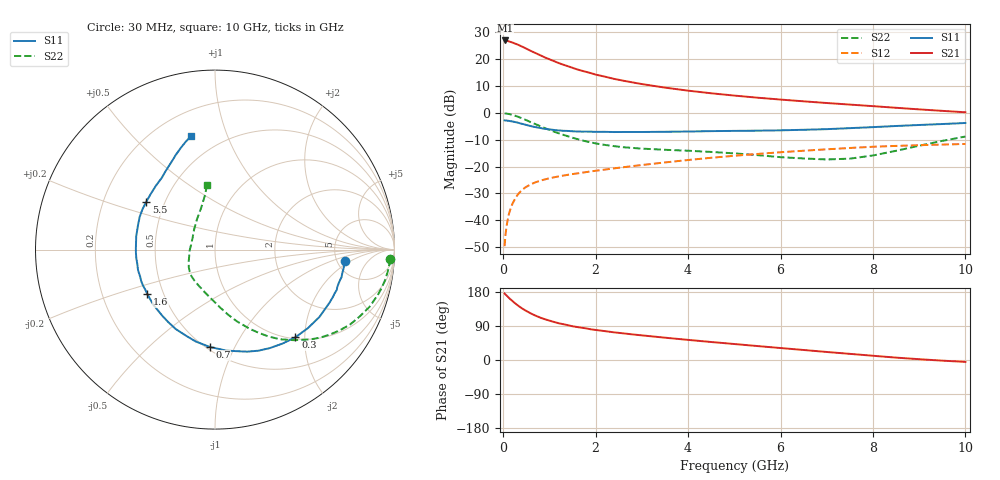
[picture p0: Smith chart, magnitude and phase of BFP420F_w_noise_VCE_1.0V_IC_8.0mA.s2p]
! Infineon Technologies  Discrete & RF Semiconductors
! BFP420F
! VCE =  1.0 V,  IC =  8.0 mA
! Common Emitter S-Parameters:  Sep 2011
# GHz  S  MA  R  50
!  f  S11  S21  S12  S22
! GHz  MAG  ANG  MAG  ANG  MAG  ANG  MAG  ANG
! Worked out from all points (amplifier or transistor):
!   54 points, 30 MHz to 10 GHz, reference 50 ohm
!   highest |S21| = 27.0 dB at 40 MHz (marker M1)
!   |S21| within 3 dB of that: start of sweep to 493.1 MHz
!   unconditionally stable (mu >= 1): 2.15 GHz to end of sweep
!   at 120 MHz: K = 0.13, MSG = 32.3 dB, |S12| = -37.9 dB
!   at 1.3 GHz: K = 0.71, MSG = 20.6 dB, |S12| = -23.3 dB
!   at 10 GHz: K = 1.29, MAG = 2.7 dB, |S12| = -11.6 dB
!   lowest NFmin = 1.08 dB at 450 MHz
!   S11 on the Smith chart (normalised r, x): 30 MHz: 5.89, -1.55; 300 MHz: 1.03, -1.80; 700 MHz: 0.52, -0.80; 1.6 GHz: 0.41, -0.25; 5.5 GHz: 0.39, +0.27; 10 GHz: 0.34, +0.75
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0.03  0.7264 -4.9  22.3 175.7  0.0033 89.3  0.9758 -3.1
0.04  0.7254 -6.7  22.32 174.3  0.0043 87.4  0.9751 -4.2
0.1  0.7125 -17.1  21.88 166.7  0.0105 82.7  0.9615 -10.5
0.15  0.7034 -24.8  21.1 160.8  0.0156 79.1  0.9417 -15.5
0.25  0.6779 -40.2  19.59 150.3  0.0246 72.2  0.8889 -24.7
0.3  0.6627 -47.5  18.91 145.5  0.029 69.2  0.8607 -29.0
0.35  0.6447 -54.3  18.07 141.0  0.0327 66.6  0.8279 -32.9
0.45  0.6129 -66.8  16.5 132.9  0.0393 61.9  0.7644 -39.9
0.6  0.5667 -83.5  14.22 122.7  0.0469 56.4  0.6697 -48.9
0.7  0.543 -93.1  13 117.0  0.0512 53.8  0.6167 -54.1
0.8  0.5232 -101.8  11.84 111.9  0.0546 51.9  0.566 -58.6
0.9  0.5048 -109.3  10.8 107.7  0.0577 50.3  0.5211 -62.5
1.1  0.481 -122.6  9.191 100.3  0.0632 48.1  0.4467 -69.7
1.3  0.4643 -133.4  7.896 94.4  0.068 47.0  0.3904 -76.0
1.6  0.451 -146.7  6.449 87.0  0.0747 46.1  0.3258 -84.7
1.7  0.448 -150.3  6.097 85.1  0.0769 46.0  0.3083 -87.3
2.4  0.4401 -169.7  4.296 72.9  0.0928 45.5  0.2404 -105.0
3.5  0.4451 170.4  2.955 58.9  0.1196 44.3  0.2056 -124.8
5.5  0.4666 145.2  1.92 36.8  0.1721 36.6  0.1636 -154.0
7  0.4981 126.5  1.528 21.2  0.2097 28.6  0.1358 168.3
8.5  0.5703 112.6  1.245 6.3  0.2429 18.8  0.1969 120.6
10  0.6484 101.7  1.027 -5.0  0.264 10.4  0.3629 96.9
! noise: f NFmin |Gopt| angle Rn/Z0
0.45  1.08  0.09  22  0.18
0.9  1.1  0.1  56  0.15
1.9  1.26  0.14  138  0.2
2.4  1.33  0.15  140  0.13
3.5  1.6  0.2  167  0.13
